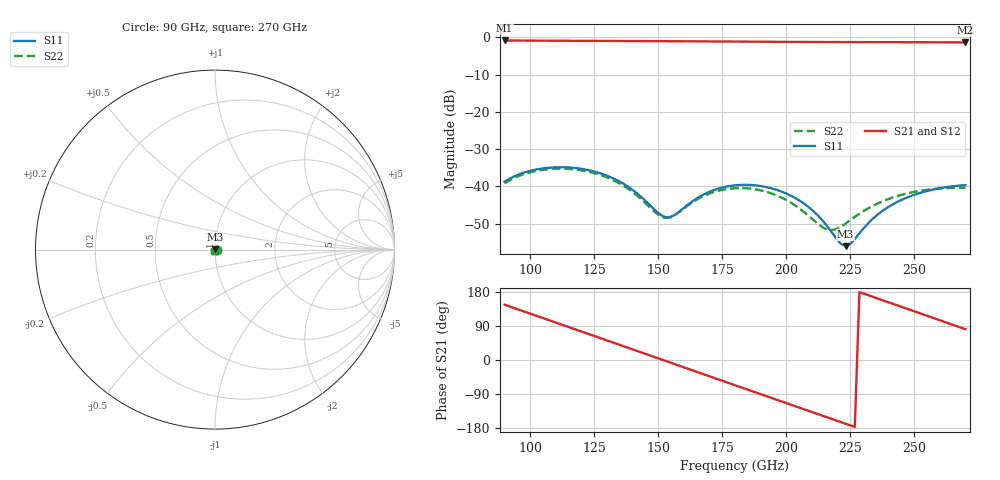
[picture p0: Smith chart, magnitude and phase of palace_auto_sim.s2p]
#  GHZ S DB R 50
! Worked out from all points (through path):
!   101 points, 90 GHz to 270 GHz, reference 50 ohm
!   highest |S21| = -0.87 dB at 90 GHz (marker M1); lowest = -1.4 dB at 270 GHz (marker M2)
!   group delay of S21, straight-line fit = 6.55 ps
!   lowest |S11| = -56.0 dB at 223.2 GHz (marker M3), VSWR 1.00, Z = 50 + j0.153 ohm
!   |S11| at or under -10 dB: start of sweep to end of sweep
!   |S22| runs from -51.7 to -35.2 dB; largest |S21 - S12| = 1e-13
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90  -38.73 -18.3  -0.87 145.9  -0.87 145.9  -39.19 -17.5
99  -35.99 -36.4  -0.91 124.7  -0.91 124.7  -36.37 -35.7
106.2  -35.06 -51.2  -0.94 107.7  -0.94 107.7  -35.43 -50.5
113.4  -34.86 -66.4  -0.96 90.8  -0.96 90.8  -35.23 -65.6
120.6  -35.33 -81.8  -0.98 73.8  -0.98 73.8  -35.74 -80.9
127.8  -36.56 -96.8  -1.00 56.8  -1.00 56.8  -37.01 -95.8
136.8  -39.43 -113.0  -1.02 35.6  -1.02 35.6  -39.96 -111.6
151.2  -47.74 -101.4  -1.06 1.6  -1.06 1.6  -48.12 -97.3
154.8  -48.17 -80.9  -1.08 -6.9  -1.08 -6.9  -48.28 -77.6
163.8  -43.77 -60.9  -1.11 -28.2  -1.11 -28.2  -44.03 -60.9
171  -41.15 -69.8  -1.13 -45.2  -1.13 -45.2  -41.65 -70.6
180  -39.70 -89.7  -1.17 -66.5  -1.17 -66.5  -40.47 -91.4
187.2  -39.65 -108.6  -1.20 -83.5  -1.20 -83.5  -40.68 -111.5
194.4  -40.53 -129.2  -1.23 -100.4  -1.23 -100.4  -41.90 -134.4
203.4  -43.05 -157.4  -1.26 -121.6  -1.26 -121.6  -45.02 -168.7
210.6  -46.60 176.4  -1.28 -138.5  -1.28 -138.5  -48.96 152.1
217.8  -52.27 137.1  -1.30 -155.4  -1.30 -155.4  -51.72 87.6
223.2  -56.00 74.5  -1.31 -168.1  -1.31 -168.1  -49.94 40.0
232.2  -49.74 -8.5  -1.32 170.6  -1.32 170.6  -45.79 -7.2
241.2  -44.97 -44.5  -1.33 149.4  -1.33 149.4  -43.06 -40.2
255.6  -41.11 -92.4  -1.36 115.3  -1.36 115.3  -40.85 -89.9
270  -39.66 -141.9  -1.40 81.3  -1.40 81.3  -40.37 -144.8
